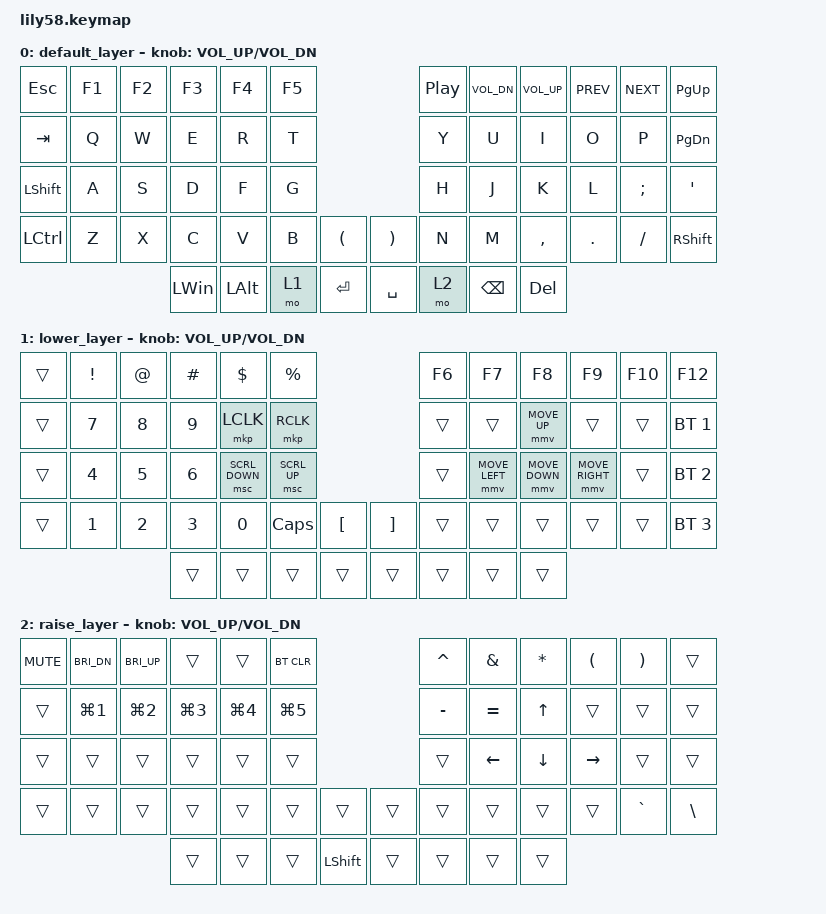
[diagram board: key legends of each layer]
/*
 * Copyright (c) 2020 The ZMK Contributors
 *
 * SPDX-License-Identifier: MIT
 */

#include <behaviors.dtsi>
#include <dt-bindings/zmk/bt.h>
#include <dt-bindings/zmk/keys.h>
#include <dt-bindings/zmk/pointing.h>
#include <dt-bindings/zmk/pointing.h>
#include <dt-bindings/zmk/pointing.h>

/ {
    keymap {
        compatible = "zmk,keymap";

        default_layer {
            // ------------------------------------------------------------------------------------------------------------
            // |  ESC  |  1  |  2  |  3   |  4   |  5   |                   |  6   |  7    |  8    |  9   |   0   |   `   |
            // |  TAB  |  Q  |  W  |  E   |  R   |  T   |                   |  Y   |  U    |  I    |  O   |   P   |   -   |
            // |  CTRL |  A  |  S  |  D   |  F   |  G   |                   |  H   |  J    |  K    |  L   |   ;   |   '   |
            // | SHIFT |  Z  |  X  |  C   |  V   |  B   |   "["  |  |  "]"  |  N   |  M    |  ,    |  .   |   /   | SHIFT |
            //                     | ALT  | GUI  | LOWER|  ENTER |  | SPACE | RAISE| BSPC  | GUI   |

            bindings = <
&kp ESC         &kp F1  &kp F2  &kp F3        &kp F4        &kp F5                                                 &kp C_PLAY_PAUSE  &kp C_VOL_DN  &kp C_VOL_UP  &kp C_PREV  &kp C_NEXT  &kp PAGE_UP
&kp TAB         &kp Q   &kp W   &kp E         &kp R         &kp T                                                  &kp Y             &kp U         &kp I         &kp O       &kp P       &kp PAGE_DOWN
&kp LEFT_SHIFT  &kp A   &kp S   &kp D         &kp F         &kp G                                                  &kp H             &kp J         &kp K         &kp L       &kp SEMI    &kp SQT
&kp LCTRL       &kp Z   &kp X   &kp C         &kp V         &kp B   &kp LEFT_PARENTHESIS    &kp RIGHT_PARENTHESIS  &kp N             &kp M         &kp COMMA     &kp DOT     &kp FSLH    &kp RSHFT
                                &kp LEFT_WIN  &kp LEFT_ALT  &mo 1   &kp RET                 &kp SPACE              &mo 2             &kp BSPC      &kp DEL
            >;

            sensor-bindings = <&inc_dec_kp C_VOL_UP C_VOL_DN>;
        };

        lower_layer {
            // ------------------------------------------------------------------------------------------------------------
            // | BTCLR | BT1 | BT2 |  BT3 |  BT4 |  BT5 |                   |      |       |       |      |       |       |
            // |  F1   |  F2 |  F3 |  F4  |  F5  |  F6  |                   |  F7  |  F8   |  F9   |  F10 |  F11  |  F12  |
            // |   `   |  !  |  @  |  #   |  $   |  %   |                   |  ^   |  &    |  *    |  (   |   )   |   ~   |
            // |       |     |     |      |      |      |        |  |       |      |  _    |  +    |  {   |   }   |  "|"  |
            //                     |      |      |      |        |  |       |      |       |       |

            bindings = <
&trans  &kp EXCLAMATION  &kp AT_SIGN  &kp HASH  &kp DOLLAR      &kp PERCENT                                          &kp F6  &kp F7          &kp F8          &kp F9           &kp F10  &kp F12
&trans  &kp N7           &kp N8       &kp N9    &mkp LCLK       &mkp RCLK                                            &trans  &trans          &mmv MOVE_UP    &trans           &trans   &bt BT_SEL 1
&trans  &kp N4           &kp N5       &kp N6    &msc SCRL_DOWN  &msc SCRL_UP                                         &trans  &mmv MOVE_LEFT  &mmv MOVE_DOWN  &mmv MOVE_RIGHT  &trans   &bt BT_SEL 2
&trans  &kp N1           &kp N2       &kp N3    &kp N0          &kp CAPS      &kp LEFT_BRACKET    &kp RIGHT_BRACKET  &trans  &trans          &trans          &trans           &trans   &bt BT_SEL 3
                                      &trans    &trans          &trans        &trans              &trans             &trans  &trans          &trans
            >;

            sensor-bindings = <&inc_dec_kp C_VOL_UP C_VOL_DN>;
        };

        raise_layer {
            // ------------------------------------------------------------------------------------------------------------
            // |       |     |     |      |      |      |                   |      |       |       |      |       |       |
            // |   `   |  1  |  2  |  3   |  4   |  5   |                   |  6   |   7   |   8   |  9   |   0   |       |
            // |   F1  |  F2 |  F3 |  F4  |  F5  |  F6  |                   |      |   <-  |   v   |  ^   |  ->   |       |
            // |   F7  |  F8 |  F9 |  F10 |  F11 |  F12 |        |  |       |  +   |   -   |   =   |  [   |   ]   |   \   |
            //                     |      |      |      |        |  |       |      |       |       |

            bindings = <
&kp C_MUTE  &kp C_BRI_DN  &kp C_BRI_UP  &trans      &trans      &bt BT_CLR                            &kp CARET  &kp AMPERSAND  &kp ASTERISK  &kp LEFT_PARENTHESIS  &kp RIGHT_PARENTHESIS  &trans
&trans      &kp LG(N1)    &kp LG(N2)    &kp LG(N3)  &kp LG(N4)  &kp LG(N5)                            &kp MINUS  &kp EQUAL      &kp UP_ARROW  &trans                &trans                 &trans
&trans      &trans        &trans        &trans      &trans      &trans                                &trans     &kp LEFT       &kp DOWN      &kp RIGHT_ARROW       &trans                 &trans
&trans      &trans        &trans        &trans      &trans      &trans      &trans            &trans  &trans     &trans         &trans        &trans                &kp GRAVE              &kp BACKSLASH
                                        &trans      &trans      &trans      &kp LEFT_SHIFT    &trans  &trans     &trans         &trans
            >;

            sensor-bindings = <&inc_dec_kp C_VOL_UP C_VOL_DN>;
        };
    };
};
